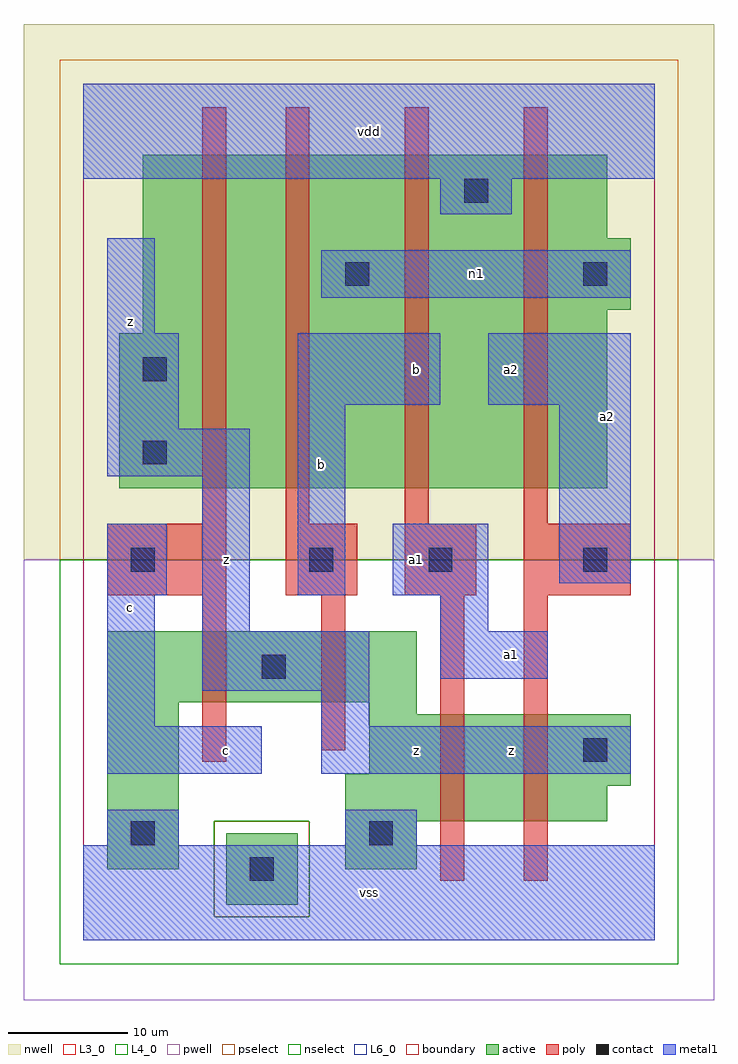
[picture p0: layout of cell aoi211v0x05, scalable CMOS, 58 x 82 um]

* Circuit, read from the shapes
.subckt aoi211v0x05 a1 a2 b c n1 vdd vss z
M1 z c vss vss nfet w=6u l=2u
M2 vss b z vss nfet w=6u l=2u
M3 n2 a1 vss vss nfet w=9u l=2u
M4 z a2 n2 vss nfet w=9u l=2u
M5 n3 c z n4 pfet w=28u l=2u
M6 n1 b n3 n4 pfet w=28u l=2u
M7 vdd a1 n1 n4 pfet w=28u l=2u
M8 n1 a2 vdd n4 pfet w=28u l=2u
.ends

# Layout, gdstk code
import gdstk
lib = gdstk.Library(unit=1e-6, precision=1e-09)
def R(c, l, rs):  # rectangles x0, y0, x1, y1
    for r in rs: c.add(gdstk.rectangle(r[:2], r[2:], *l))
def A(c, l, x, y, w, h, nx, ny, dx, dy):  # array of equal rectangles
    R(c, l, [(x+i*dx, y+j*dy, x+i*dx+w, y+j*dy+h) for i in range(nx) for j in range(ny)])
L3_0 = (3, 0)
L4_0 = (4, 0)
L6_0 = (6, 0)
contact = (25, 0)
pwell = (41, 0)
nwell = (42, 0)
active = (43, 0)
pselect = (44, 0)
nselect = (45, 0)
poly = (46, 0)
metal1 = (49, 0)
boundary = (63, 0)

aoi211v0x05 = lib.new_cell('aoi211v0x05')
R(aoi211v0x05, L3_0, [(2,6,8,20), (22,6,28,10), (22,10,44,13), (22,13,46,14), (24,14,46,19), (24,19,28,20), (2,20,28,26)])
R(aoi211v0x05, L4_0, [(3,38,44,51), (5,51,44,53), (5,53,46,59), (5,59,44,66)])
R(aoi211v0x05, L6_0, [(12,3,18,9)])
R(aoi211v0x05, contact, [(14,5,16,7), (4,8,6,10), (24,8,26,10), (42,15,44,17), (15,22,17,24), (4,31,6,33), (19,31,21,33), (29,31,31,33), (42,31,44,33), (5,40,7,42), (5,47,7,49), (22,55,24,57), (42,55,44,57), (32,62,34,64)])
R(aoi211v0x05, pwell, [(-5,-5,53,32)])
R(aoi211v0x05, nwell, [(-5,32,53,77)])
R(aoi211v0x05, active, [(12,3,18,9), (2,6,8,20), (22,6,28,10), (22,10,44,13), (22,13,46,14), (24,14,46,19), (24,19,28,20), (2,20,28,26), (3,38,44,51), (5,51,44,53), (5,53,46,59), (5,59,44,66)])
R(aoi211v0x05, pselect, [(11,2,19,10), (-2,32,50,74)])
R(aoi211v0x05, nselect, [(-2,-2,50,2), (-2,2,11,10), (19,2,50,10), (-2,10,50,32)])
A(aoi211v0x05, poly, 17, 35, 2, 35, 3, 1, 10, 0)
R(aoi211v0x05, poly, [(30,5,32,29), (37,5,39,29), (10,15,12,29), (20,16,22,29), (2,29,12,35), (17,29,23,35), (27,29,33,35), (37,29,46,35), (10,35,12,70)])
R(aoi211v0x05, metal1, [(0,0,48,8), (2,8,8,11), (22,8,28,11), (2,14,15,18), (20,14,46,18), (2,18,6,29), (20,18,24,21), (10,21,24,26), (30,22,39,26), (10,26,14,39), (30,26,34,29), (2,29,7,35), (18,29,22,45), (26,29,34,35), (40,30,46,45), (2,39,14,43), (2,43,8,51), (18,45,30,51), (34,45,46,51), (2,51,6,59), (20,54,46,58), (30,61,36,64), (0,64,48,72)])
R(aoi211v0x05, boundary, [(0,0,48,72)])
aoi211v0x05.add(gdstk.Label('n1', (33,56), layer=49, texttype=0))
aoi211v0x05.add(gdstk.Label('c', (4,28), layer=49, texttype=0))
aoi211v0x05.add(gdstk.Label('z', (4,52), layer=49, texttype=0))
aoi211v0x05.add(gdstk.Label('c', (12,16), layer=49, texttype=0))
aoi211v0x05.add(gdstk.Label('z', (12,32), layer=49, texttype=0))
aoi211v0x05.add(gdstk.Label('b', (20,40), layer=49, texttype=0))
aoi211v0x05.add(gdstk.Label('vss', (24,4), layer=49, texttype=0))
aoi211v0x05.add(gdstk.Label('z', (28,16), layer=49, texttype=0))
aoi211v0x05.add(gdstk.Label('a1', (28,32), layer=49, texttype=0))
aoi211v0x05.add(gdstk.Label('b', (28,48), layer=49, texttype=0))
aoi211v0x05.add(gdstk.Label('vdd', (24,68), layer=49, texttype=0))
aoi211v0x05.add(gdstk.Label('z', (36,16), layer=49, texttype=0))
aoi211v0x05.add(gdstk.Label('a1', (36,24), layer=49, texttype=0))
aoi211v0x05.add(gdstk.Label('a2', (36,48), layer=49, texttype=0))
aoi211v0x05.add(gdstk.Label('a2', (44,44), layer=49, texttype=0))

lib.write_gds('aoi211v0x05.gds')
